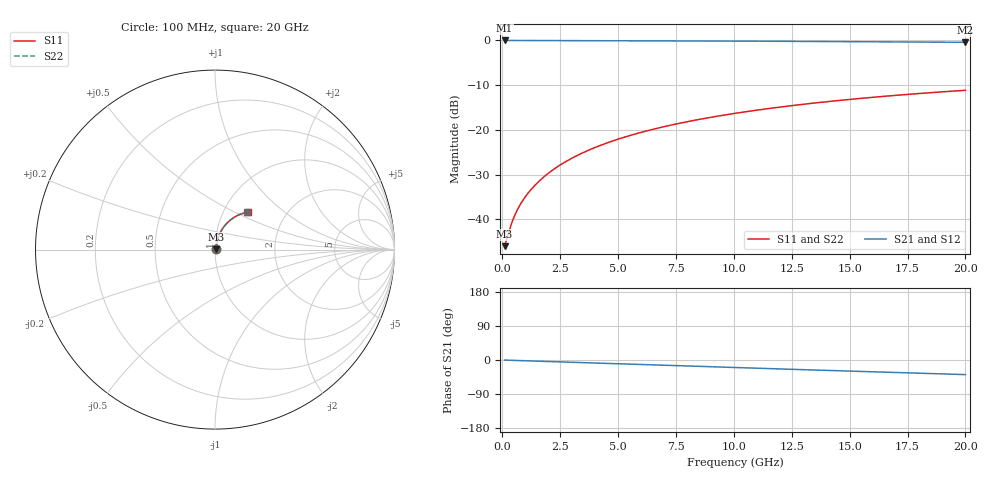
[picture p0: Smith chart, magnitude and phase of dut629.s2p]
! Touchstone file exported from HFSS 2026.1.0
!  File:  C:/ffzhzh/LocalFiles/Ansys_Project_Files/temp_train_BSMRDL_629_1783016559_51716.aedt
!  Generated:  02:23:58 AM Jul  3, 2026
!  Design:  BSMRDL
!  Project:  temp_train_BSMRDL_629_1783016559_51716
! Variables:
!  h_bsmrdl = 2.04um
!  h_ox = 20um
!  h_rdl = 5um
!  h_sub = 80um
!  h_tmrdl = 5um
!  h_tsv = 80um
!  h_via = 3um
!  l_bsmrdl = 598.56um
!  l_sub = 998.56um
!  l_tmrdl = 200um
!  m_sub = 200um
!  pitch = 39.02um
!  r_tsv = 6um
!  s_tmrdl = 10um
!  w_bsmrdl = 24.35um
!  w_sub = 500um
!  w_tmrdl = 12um
!  x_tsv_center1 = 206um
!  x_tsv_center2 = 828.91um
!  x_tsv_center3 = 1040.91um
!  x_tsv_center4 = 1663.82um
!  x_tsv_center5 = 1875.82um
!  x_tsv_center6 = 2498.73um
# GHz S MA R 50.000000
! Terminal data exported
! Port[1] = BSM_RDL1_1_T1
! Port[2] = BSM_RDL1_1_T2
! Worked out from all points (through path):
!   200 points, 100 MHz to 20 GHz, reference 50 ohm
!   highest |S21| = -0.04 dB at 100 MHz (marker M1); lowest = -0.5 dB at 20 GHz (marker M2)
!   group delay of S21, straight-line fit = 5.35 ps
!   lowest |S11| = -46.0 dB at 100 MHz (marker M3), VSWR 1.01, Z = 50.5 + j0.192 ohm
!   |S11| at or under -10 dB: start of sweep to end of sweep
!   |S22| runs from -46.0 to -11.2 dB; largest |S21 - S12| = 2.1e-15
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0.1  0.005012 22.2  0.9954 -0.2  0.9954 -0.2  0.005012 22.2
! Gamma 0 0 0 0
! Port Impedance 50 0 50 0
0.3  0.007482 47.8  0.995 -0.7  0.995 -0.7  0.007482 47.8
0.4  0.008982 53.9  0.9948 -0.9  0.9948 -0.9  0.008982 53.9
0.5  0.0105 58.0  0.9945 -1.1  0.9945 -1.1  0.0105 58.0
0.6  0.01201 60.9  0.9943 -1.3  0.9943 -1.3  0.01201 60.9
0.7  0.01351 63.1  0.9941 -1.5  0.9941 -1.5  0.01351 63.1
0.9  0.01647 66.4  0.9938 -1.9  0.9938 -1.9  0.01647 66.4
1.2  0.0209 69.7  0.9934 -2.5  0.9934 -2.5  0.0209 69.7
1.4  0.02386 71.3  0.9932 -2.9  0.9932 -2.9  0.02386 71.3
1.7  0.02834 72.9  0.993 -3.4  0.993 -3.4  0.02834 72.9
2.2  0.03589 74.6  0.9926 -4.4  0.9926 -4.4  0.03589 74.6
2.8  0.04502 75.4  0.992 -5.6  0.992 -5.6  0.04502 75.4
3.5  0.05572 75.6  0.9913 -7.0  0.9913 -7.0  0.05571 75.6
4.2  0.06641 75.3  0.9905 -8.4  0.9905 -8.4  0.0664 75.3
5  0.07858 74.5  0.9894 -10.0  0.9894 -10.0  0.07857 74.6
5.9  0.09217 73.4  0.9881 -11.8  0.9881 -11.8  0.09216 73.5
6.8  0.1056 72.1  0.9865 -13.5  0.9865 -13.5  0.1056 72.2
8.3  0.1277 69.7  0.9834 -16.5  0.9834 -16.5  0.1277 69.8
10.1  0.1534 66.7  0.9792 -20.0  0.9792 -20.0  0.1534 66.7
13.4  0.1981 60.8  0.9701 -26.3  0.9701 -26.3  0.1981 60.9
16.7  0.2392 54.9  0.9599 -32.5  0.9599 -32.5  0.2391 54.9
20  0.2763 49.0  0.949 -38.5  0.949 -38.5  0.2762 49.1
